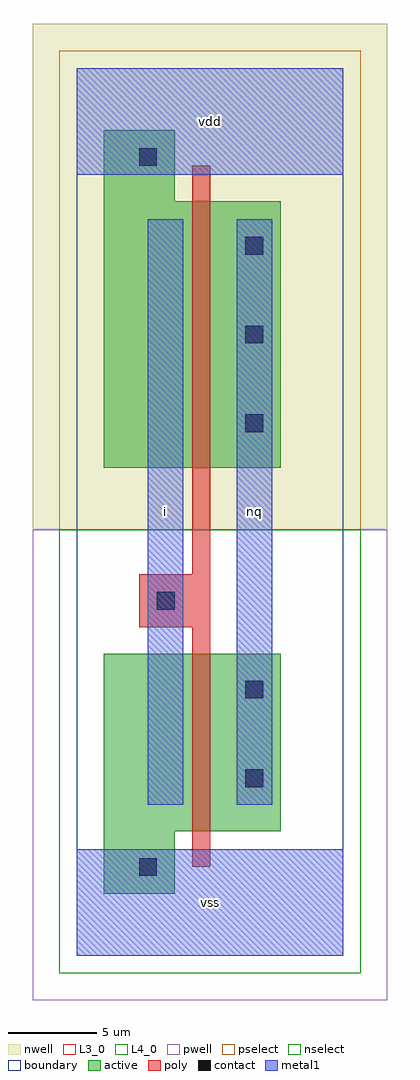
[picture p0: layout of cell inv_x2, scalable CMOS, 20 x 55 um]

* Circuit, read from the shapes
.subckt inv_x2 i nq vdd vss
M1 nq i vss VSUBS nfet w=10u l=1u
M2 nq i vdd n1 pfet w=15u l=1u
.ends

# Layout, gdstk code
import gdstk
lib = gdstk.Library(unit=1e-6, precision=1e-09)
def R(c, l, rs):  # rectangles x0, y0, x1, y1
    for r in rs: c.add(gdstk.rectangle(r[:2], r[2:], *l))
def A(c, l, x, y, w, h, nx, ny, dx, dy):  # array of equal rectangles
    R(c, l, [(x+i*dx, y+j*dy, x+i*dx+w, y+j*dy+h) for i in range(nx) for j in range(ny)])
L3_0 = (3, 0)
L4_0 = (4, 0)
contact = (25, 0)
pwell = (41, 0)
nwell = (42, 0)
active = (43, 0)
pselect = (44, 0)
nselect = (45, 0)
poly = (46, 0)
metal1 = (49, 0)
boundary = (63, 0)

inv_x2 = lib.new_cell('inv_x2')
R(inv_x2, L3_0, [(1.5,3.5,5.5,7), (1.5,7,11.5,17)])
R(inv_x2, L4_0, [(1.5,27.5,11.5,42.5), (1.5,42.5,5.5,46.5)])
A(inv_x2, contact, 9.5, 29.5, 1, 1, 1, 3, 0, 5)
R(inv_x2, contact, [(3.5,4.5,4.5,5.5), (9.5,9.5,10.5,10.5), (9.5,14.5,10.5,15.5), (4.5,19.5,5.5,20.5), (3.5,44.5,4.5,45.5)])
R(inv_x2, pwell, [(-2.5,-2.5,17.5,24)])
R(inv_x2, nwell, [(-2.5,24,17.5,52.5)])
R(inv_x2, active, [(1.5,3.5,5.5,7), (1.5,7,11.5,17), (1.5,27.5,11.5,42.5), (1.5,42.5,5.5,46.5)])
R(inv_x2, pselect, [(-1,24,16,51)])
R(inv_x2, nselect, [(-1,-1,16,24)])
R(inv_x2, poly, [(6.5,5,7.5,18.5), (3.5,18.5,7.5,21.5), (6.5,21.5,7.5,44.5)])
R(inv_x2, metal1, [(0,0,15,6), (0,0,15,6), (4,8.5,6,41.5), (4,8.5,6,41.5), (9,8.5,11,41.5), (9,8.5,11,41.5), (0,44,15,50), (0,44,15,50)])
R(inv_x2, boundary, [(0,0,15,50)])
inv_x2.add(gdstk.Label('vss', (7.5,3), layer=49, texttype=0))
inv_x2.add(gdstk.Label('i', (5,25), layer=49, texttype=0))
inv_x2.add(gdstk.Label('vdd', (7.5,47), layer=49, texttype=0))
inv_x2.add(gdstk.Label('nq', (10,25), layer=49, texttype=0))

lib.write_gds('inv_x2.gds')
